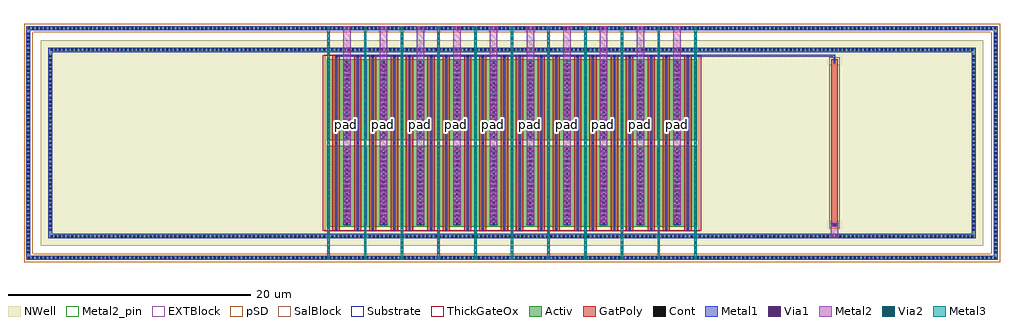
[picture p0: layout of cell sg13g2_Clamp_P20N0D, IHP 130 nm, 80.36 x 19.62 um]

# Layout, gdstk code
import gdstk
lib = gdstk.Library(unit=1e-6, precision=1e-09)
def R(c, l, rs):  # rectangles x0, y0, x1, y1
    for r in rs: c.add(gdstk.rectangle(r[:2], r[2:], *l))
def A(c, l, x, y, w, h, nx, ny, dx, dy):  # array of equal rectangles
    R(c, l, [(x+i*dx, y+j*dy, x+i*dx+w, y+j*dy+h) for i in range(nx) for j in range(ny)])
def P(c, l, *ps):  # polygons
    for p in ps: c.add(gdstk.Polygon(p, *l))
Activ = (1, 0)
GatPoly = (5, 0)
Cont = (6, 0)
Metal1 = (8, 0)
Metal2 = (10, 0)
Metal2_pin = (10, 2)
pSD = (14, 0)
Via1 = (19, 0)
SalBlock = (28, 0)
Via2 = (29, 0)
Metal3 = (30, 0)
NWell = (31, 0)
Substrate = (40, 0)
ThickGateOx = (44, 0)
EXTBlock = (111, 0)

sg13g2_guardring_p16000w = lib.new_cell('sg13g2_GuardRing_P16000W3852HFF')
P(sg13g2_guardring_p16000w, Activ, [(-40,-9.63),(-40,9.29),(-39.66,9.29),(-39.66,-9.29),(39.66,-9.29),(39.66,9.29),(-40,9.29),(-40,9.63),(40,9.63),(40,-9.63)])
A(sg13g2_guardring_p16000w, Cont, -39.86, -9.54, 0.16, 0.16, 235, 2, 0.34, 18.92)
A(sg13g2_guardring_p16000w, Cont, -39.91, -9.09, 0.16, 0.16, 1, 54, 0, 0.34)
A(sg13g2_guardring_p16000w, Cont, 39.75, -9.09, 0.16, 0.16, 1, 54, 0, 0.34)
P(sg13g2_guardring_p16000w, Metal1, [(-40,-9.63),(-40,9.29),(-39.66,9.29),(-39.66,-9.29),(39.66,-9.29),(39.66,9.29),(-40,9.29),(-40,9.63),(40,9.63),(40,-9.63)])
P(sg13g2_guardring_p16000w, pSD, [(-40.18,-9.81),(-40.18,9.11),(-39.48,9.11),(-39.48,-9.11),(39.48,-9.11),(39.48,9.11),(-40.18,9.11),(-40.18,9.81),(40.18,9.81),(40.18,-9.81)])
P(sg13g2_guardring_p16000w, Substrate, [(-40,-9.63),(-40,9.29),(-39.66,9.29),(-39.66,-9.29),(39.66,-9.29),(39.66,9.29),(-40,9.29),(-40,9.63),(40,9.63),(40,-9.63)])
sg13g2_guardring_p16000w.add(gdstk.Label('sub!', (-39.83,-9.46), layer=63, texttype=0))

sg13g2_guardring_n15280w = lib.new_cell('sg13g2_GuardRing_N15280W3132HTF')
P(sg13g2_guardring_n15280w, Activ, [(-38.2,-7.83),(-38.2,7.49),(-37.86,7.49),(-37.86,-7.49),(37.86,-7.49),(37.86,7.49),(-38.2,7.49),(-38.2,7.83),(38.2,7.83),(38.2,-7.83)])
A(sg13g2_guardring_n15280w, Cont, -37.99, -7.74, 0.16, 0.16, 224, 2, 0.34, 15.32)
A(sg13g2_guardring_n15280w, Cont, -38.11, -7.22, 0.16, 0.16, 1, 43, 0, 0.34)
A(sg13g2_guardring_n15280w, Cont, 37.95, -7.22, 0.16, 0.16, 1, 43, 0, 0.34)
P(sg13g2_guardring_n15280w, Metal1, [(-38.2,-7.83),(-38.2,7.49),(-37.86,7.49),(-37.86,-7.49),(37.86,-7.49),(37.86,7.49),(-38.2,7.49),(-38.2,7.83),(38.2,7.83),(38.2,-7.83)])
R(sg13g2_guardring_n15280w, NWell, [(-38.82,-8.45,38.82,8.45)])

sg13g2_clamp_p20n0d = lib.new_cell('sg13g2_Clamp_P20N0D')
R(sg13g2_clamp_p20n0d, Activ, [(24.75,2.75,55.25,9.41), (24.75,9.85,55.25,16.51)])
R(sg13g2_clamp_p20n0d, GatPoly, [(25.22,2.38,25.82,16.88), (27,2.38,27.6,16.88), (28.24,2.38,28.84,16.88), (30.02,2.38,30.62,16.88), (31.26,2.38,31.86,16.88), (33.04,2.38,33.64,16.88), (34.28,2.38,34.88,16.88), (36.06,2.38,36.66,16.88), (37.3,2.38,37.9,16.88), (39.08,2.38,39.68,16.88), (40.32,2.38,40.92,16.88), (42.1,2.38,42.7,16.88), (43.34,2.38,43.94,16.88), (45.12,2.38,45.72,16.88), (46.36,2.38,46.96,16.88), (48.14,2.38,48.74,16.88), (49.38,2.38,49.98,16.88), (51.16,2.38,51.76,16.88), (52.4,2.38,53,16.88), (54.18,2.38,54.78,16.88), (66.305,2.75,66.805,16.51)])
A(sg13g2_clamp_p20n0d, Cont, 25.44, 2.45, 0.16, 0.16, 1, 3, 0, 7.1)
A(sg13g2_clamp_p20n0d, Cont, 27.22, 2.45, 0.16, 0.16, 1, 3, 0, 7.1)
A(sg13g2_clamp_p20n0d, Cont, 28.46, 2.45, 0.16, 0.16, 1, 3, 0, 7.1)
A(sg13g2_clamp_p20n0d, Cont, 30.24, 2.45, 0.16, 0.16, 1, 3, 0, 7.1)
A(sg13g2_clamp_p20n0d, Cont, 31.48, 2.45, 0.16, 0.16, 1, 3, 0, 7.1)
A(sg13g2_clamp_p20n0d, Cont, 33.26, 2.45, 0.16, 0.16, 1, 3, 0, 7.1)
A(sg13g2_clamp_p20n0d, Cont, 34.5, 2.45, 0.16, 0.16, 1, 3, 0, 7.1)
A(sg13g2_clamp_p20n0d, Cont, 36.28, 2.45, 0.16, 0.16, 1, 3, 0, 7.1)
A(sg13g2_clamp_p20n0d, Cont, 37.52, 2.45, 0.16, 0.16, 1, 3, 0, 7.1)
A(sg13g2_clamp_p20n0d, Cont, 39.3, 2.45, 0.16, 0.16, 1, 3, 0, 7.1)
A(sg13g2_clamp_p20n0d, Cont, 40.54, 2.45, 0.16, 0.16, 1, 3, 0, 7.1)
A(sg13g2_clamp_p20n0d, Cont, 42.32, 2.45, 0.16, 0.16, 1, 3, 0, 7.1)
A(sg13g2_clamp_p20n0d, Cont, 43.56, 2.45, 0.16, 0.16, 1, 3, 0, 7.1)
A(sg13g2_clamp_p20n0d, Cont, 45.34, 2.45, 0.16, 0.16, 1, 3, 0, 7.1)
A(sg13g2_clamp_p20n0d, Cont, 46.58, 2.45, 0.16, 0.16, 1, 3, 0, 7.1)
A(sg13g2_clamp_p20n0d, Cont, 48.36, 2.45, 0.16, 0.16, 1, 3, 0, 7.1)
A(sg13g2_clamp_p20n0d, Cont, 49.6, 2.45, 0.16, 0.16, 1, 3, 0, 7.1)
A(sg13g2_clamp_p20n0d, Cont, 51.38, 2.45, 0.16, 0.16, 1, 3, 0, 7.1)
A(sg13g2_clamp_p20n0d, Cont, 52.62, 2.45, 0.16, 0.16, 1, 3, 0, 7.1)
A(sg13g2_clamp_p20n0d, Cont, 54.4, 2.45, 0.16, 0.16, 1, 3, 0, 7.1)
A(sg13g2_clamp_p20n0d, Cont, 24.82, 2.94, 0.16, 0.16, 21, 19, 1.51, 0.34)
A(sg13g2_clamp_p20n0d, Cont, 24.82, 10.04, 0.16, 0.16, 21, 19, 1.51, 0.34)
R(sg13g2_clamp_p20n0d, Cont, [(66.475,2.82,66.635,2.98), (66.475,16.28,66.635,16.44)])
A(sg13g2_clamp_p20n0d, Metal1, 24.795, 1.8, 0.21, 0.34, 11, 2, 3.02, 15.32)
A(sg13g2_clamp_p20n0d, Metal1, 24.795, 2.86, 0.21, 6.44, 11, 2, 3.02, 7.1)
A(sg13g2_clamp_p20n0d, Metal1, 26.1, 2.86, 0.62, 6.44, 10, 2, 3.02, 7.1)
R(sg13g2_clamp_p20n0d, Metal1, [(66.245,1.825,66.865,2.115)])
P(sg13g2_clamp_p20n0d, Metal1, [(66.475,2.74),(66.475,2.755),(66.245,2.755),(66.245,3.045),(66.475,3.045),(66.475,3.06),(66.635,3.06),(66.635,3.045),(66.865,3.045),(66.865,2.755),(66.635,2.755),(66.635,2.74)],
  [(25.44,2.37),(25.44,16.89),(66.635,16.89),(66.635,16.2),(66.475,16.2),(66.475,16.73),(54.56,16.73),(54.56,2.37),(54.4,2.37),(54.4,16.73),(52.78,16.73),(52.78,2.37),(52.62,2.37),(52.62,16.73),(51.54,16.73),(51.54,2.37),(51.38,2.37),(51.38,16.73),(49.76,16.73),(49.76,2.37),(49.6,2.37),(49.6,16.73),(48.52,16.73),(48.52,2.37),(48.36,2.37),(48.36,16.73),(46.74,16.73),(46.74,2.37),(46.58,2.37),(46.58,16.73),(45.5,16.73),(45.5,2.37),(45.34,2.37),(45.34,16.73),(43.72,16.73),(43.72,2.37),(43.56,2.37),(43.56,16.73),(42.48,16.73),(42.48,2.37),(42.32,2.37),(42.32,16.73),(40.7,16.73),(40.7,2.37),(40.54,2.37),(40.54,16.73),(39.46,16.73),(39.46,2.37),(39.3,2.37),(39.3,16.73),(37.68,16.73),(37.68,2.37),(37.52,2.37),(37.52,16.73),(36.44,16.73),(36.44,2.37),(36.28,2.37),(36.28,16.73),(34.66,16.73),(34.66,2.37),(34.5,2.37),(34.5,16.73),(33.42,16.73),(33.42,2.37),(33.26,2.37),(33.26,16.73),(31.64,16.73),(31.64,2.37),(31.48,2.37),(31.48,16.73),(30.4,16.73),(30.4,2.37),(30.24,2.37),(30.24,16.73),(28.62,16.73),(28.62,2.37),(28.46,2.37),(28.46,16.73),(27.38,16.73),(27.38,2.37),(27.22,2.37),(27.22,16.73),(25.6,16.73),(25.6,2.37)])
A(sg13g2_clamp_p20n0d, Metal2, 24.8, 0, 0.2, 19.26, 11, 1, 3.02, 0)
A(sg13g2_clamp_p20n0d, Metal2, 26.105, 3.065, 0.61, 16.195, 10, 1, 3.02, 0)
R(sg13g2_clamp_p20n0d, Metal2, [(66.25,1.825,66.86,3.045)])
A(sg13g2_clamp_p20n0d, Metal2_pin, 26.105, 3.065, 0.61, 16.195, 10, 1, 3.02, 0)
R(sg13g2_clamp_p20n0d, pSD, [(24.57,2.35,55.43,16.91), (66.125,2.57,66.985,16.69)])
A(sg13g2_clamp_p20n0d, Via1, 24.805, 1.875, 0.19, 0.19, 11, 2, 3.02, 15.32)
A(sg13g2_clamp_p20n0d, Via1, 24.805, 3.115, 0.19, 0.19, 1, 15, 0, 0.41)
A(sg13g2_clamp_p20n0d, Via1, 26.11, 3.115, 0.19, 0.19, 1, 15, 0, 0.41)
A(sg13g2_clamp_p20n0d, Via1, 26.52, 3.115, 0.19, 0.19, 3, 15, 1.305, 0.41)
A(sg13g2_clamp_p20n0d, Via1, 29.54, 3.115, 0.19, 0.19, 3, 15, 1.305, 0.41)
A(sg13g2_clamp_p20n0d, Via1, 32.56, 3.115, 0.19, 0.19, 3, 15, 1.305, 0.41)
A(sg13g2_clamp_p20n0d, Via1, 35.58, 3.115, 0.19, 0.19, 3, 15, 1.305, 0.41)
A(sg13g2_clamp_p20n0d, Via1, 38.6, 3.115, 0.19, 0.19, 3, 15, 1.305, 0.41)
A(sg13g2_clamp_p20n0d, Via1, 41.62, 3.115, 0.19, 0.19, 3, 15, 1.305, 0.41)
A(sg13g2_clamp_p20n0d, Via1, 44.64, 3.115, 0.19, 0.19, 3, 15, 1.305, 0.41)
A(sg13g2_clamp_p20n0d, Via1, 47.66, 3.115, 0.19, 0.19, 3, 15, 1.305, 0.41)
A(sg13g2_clamp_p20n0d, Via1, 50.68, 3.115, 0.19, 0.19, 3, 15, 1.305, 0.41)
A(sg13g2_clamp_p20n0d, Via1, 53.7, 3.115, 0.19, 0.19, 1, 15, 0, 0.41)
A(sg13g2_clamp_p20n0d, Via1, 55.005, 3.115, 0.19, 0.19, 1, 15, 0, 0.41)
A(sg13g2_clamp_p20n0d, Via1, 24.805, 10.215, 0.19, 0.19, 1, 15, 0, 0.41)
A(sg13g2_clamp_p20n0d, Via1, 26.11, 10.215, 0.19, 0.19, 1, 15, 0, 0.41)
A(sg13g2_clamp_p20n0d, Via1, 26.52, 10.215, 0.19, 0.19, 3, 15, 1.305, 0.41)
A(sg13g2_clamp_p20n0d, Via1, 29.54, 10.215, 0.19, 0.19, 3, 15, 1.305, 0.41)
A(sg13g2_clamp_p20n0d, Via1, 32.56, 10.215, 0.19, 0.19, 3, 15, 1.305, 0.41)
A(sg13g2_clamp_p20n0d, Via1, 35.58, 10.215, 0.19, 0.19, 3, 15, 1.305, 0.41)
A(sg13g2_clamp_p20n0d, Via1, 38.6, 10.215, 0.19, 0.19, 3, 15, 1.305, 0.41)
A(sg13g2_clamp_p20n0d, Via1, 41.62, 10.215, 0.19, 0.19, 3, 15, 1.305, 0.41)
A(sg13g2_clamp_p20n0d, Via1, 44.64, 10.215, 0.19, 0.19, 3, 15, 1.305, 0.41)
A(sg13g2_clamp_p20n0d, Via1, 47.66, 10.215, 0.19, 0.19, 3, 15, 1.305, 0.41)
A(sg13g2_clamp_p20n0d, Via1, 50.68, 10.215, 0.19, 0.19, 3, 15, 1.305, 0.41)
A(sg13g2_clamp_p20n0d, Via1, 53.7, 10.215, 0.19, 0.19, 1, 15, 0, 0.41)
A(sg13g2_clamp_p20n0d, Via1, 55.005, 10.215, 0.19, 0.19, 1, 15, 0, 0.41)
R(sg13g2_clamp_p20n0d, Via1, [(66.255,1.875,66.445,2.065), (66.665,1.875,66.855,2.065), (66.255,2.805,66.445,2.995), (66.665,2.805,66.855,2.995)])
R(sg13g2_clamp_p20n0d, SalBlock, [(66.105,3.18,67.005,16.08)])
A(sg13g2_clamp_p20n0d, Via2, 24.805, 0.105, 0.19, 0.19, 11, 47, 3.02, 0.41)
A(sg13g2_clamp_p20n0d, Metal3, 24.8, 0.055, 0.2, 19.15, 11, 1, 3.02, 0)
R(sg13g2_clamp_p20n0d, NWell, [(24.13,2.13,55.87,17.13)])
R(sg13g2_clamp_p20n0d, ThickGateOx, [(24.41,2.41,55.59,16.85)])
R(sg13g2_clamp_p20n0d, EXTBlock, [(66.125,2.57,66.985,16.69)])
sg13g2_clamp_p20n0d.add(gdstk.Reference(sg13g2_guardring_p16000w, (40,9.63)))
sg13g2_clamp_p20n0d.add(gdstk.Reference(sg13g2_guardring_n15280w, (40,9.63)))
sg13g2_clamp_p20n0d.add(gdstk.Label('pad', (50.57,11.163), layer=10, texttype=25))
sg13g2_clamp_p20n0d.add(gdstk.Label('pad', (38.49,11.163), layer=10, texttype=25))
sg13g2_clamp_p20n0d.add(gdstk.Label('pad', (26.41,11.163), layer=10, texttype=25))
sg13g2_clamp_p20n0d.add(gdstk.Label('pad', (47.55,11.163), layer=10, texttype=25))
sg13g2_clamp_p20n0d.add(gdstk.Label('pad', (32.45,11.163), layer=10, texttype=25))
sg13g2_clamp_p20n0d.add(gdstk.Label('pad', (35.47,11.163), layer=10, texttype=25))
sg13g2_clamp_p20n0d.add(gdstk.Label('pad', (41.51,11.163), layer=10, texttype=25))
sg13g2_clamp_p20n0d.add(gdstk.Label('pad', (29.43,11.163), layer=10, texttype=25))
sg13g2_clamp_p20n0d.add(gdstk.Label('pad', (53.59,11.163), layer=10, texttype=25))
sg13g2_clamp_p20n0d.add(gdstk.Label('pad', (44.53,11.163), layer=10, texttype=25))

lib.write_gds('sg13g2_Clamp_P20N0D.gds')
